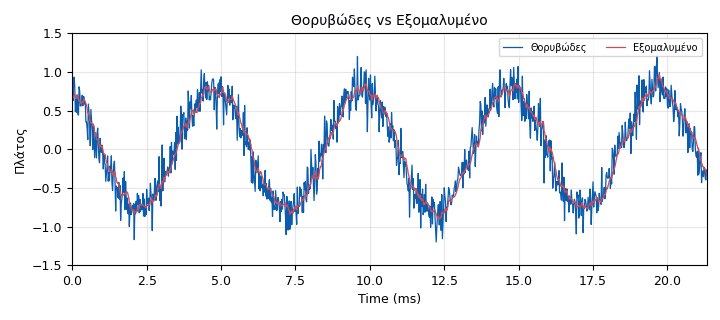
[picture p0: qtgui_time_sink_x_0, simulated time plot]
options:
  parameters:
    author: K510 Digital Communications Lab
    description: 'A noisy sine wave cleaned up by a hand-written Embedded Python Block: how to write your own GNU Radio block (lab0-intro-sdr).'
    generate_options: qt_gui
    id: custom_smoother
    output_language: python
    title: Custom Block Demo (Moving-Average Smoother)
  states: {}

blocks:
- name: noise_amp
  id: variable_qtgui_range
  parameters:
    comment: Πλάτος του προστιθέμενου λευκού θορύβου
    gui_hint: 1,0,1,1
    label: Πλάτος θορύβου
    start: '0.0'
    step: '0.01'
    stop: '0.5'
    value: '0.15'
  states: {}
- name: samp_rate
  id: variable
  parameters:
    comment: Sample rate
    value: '48000'
  states: {}
- name: tone_freq
  id: variable_qtgui_range
  parameters:
    comment: Συχνότητα του καθαρού ημιτόνου
    gui_hint: 0,0,1,1
    label: Συχνότητα τόνου (Hz)
    rangeType: int
    start: '50'
    step: '10'
    stop: '2000'
    value: '200'
  states: {}
- name: win_len
  id: variable_qtgui_range
  parameters:
    comment: Μήκος παραθύρου του custom κινητού μέσου όρου
    gui_hint: 0,2,1,1
    label: Παράθυρο εξομάλυνσης (δείγματα)
    rangeType: int
    start: '1'
    step: '1'
    stop: '50'
    value: '9'
  states: {}
- name: analog_noise_source_x_0
  id: analog_noise_source_x
  parameters:
    amp: noise_amp
    comment: Λευκός θόρυβος Gauss που προστίθεται στο ημίτονο
    noise_type: analog.GR_GAUSSIAN
    seed: '0'
    type: float
  states: {}
- name: analog_sig_source_x_0
  id: analog_sig_source_x
  parameters:
    amp: '0.8'
    comment: Καθαρό ημίτονο αναφοράς
    freq: tone_freq
    offset: '0'
    phase: '0'
    samp_rate: samp_rate
    type: float
    waveform: analog.GR_COS_WAVE
  states: {}
- name: blocks_add_xx_0
  id: blocks_add_xx
  parameters:
    comment: θορυβοποιημένο = καθαρό + θόρυβος
    type: float
  states: {}
- name: blocks_throttle_0
  id: blocks_throttle
  parameters:
    comment: Ρυθμίζει τον χρόνο εκτέλεσης στο samp_rate
    samples_per_second: samp_rate
    type: float
  states: {}
- name: epy_block_0
  id: epy_block
  parameters:
    _source_code: |
      import numpy as np
      from gnuradio import gr


      class blk(gr.sync_block):
          """
          Παράδειγμα custom block, γραμμένο εξ ολοκλήρου σε Python: ένας
          εξομαλυντής κινητού μέσου όρου (moving-average smoother).

          Παράμετρος:
              window : μήκος παραθύρου εξομάλυνσης σε δείγματα (>= 1).

          Διατηρεί τα τελευταία (window-1) δείγματα της προηγούμενης κλήσης του
          work() ως εσωτερική κατάσταση (self.history), ώστε η εξομάλυνση να
          είναι συνεχής στα όρια ανάμεσα σε διαδοχικά buffers -- χωρίς αυτό θα
          εμφανίζονταν παραμορφώσεις στην αρχή κάθε κλήσης.
          """

          def __init__(self, window=5):
              gr.sync_block.__init__(
                  self,
                  name='Εξομαλυντής (κινητός μέσος)',
                  in_sig=[np.float32],
                  out_sig=[np.float32],
              )
              # Απλό attribute -> γίνεται callback, ώστε το παράθυρο window
              # να αλλάζει ζωντανά από το QT GUI Range widget.
              self.window = window
              self.history = np.zeros(0, dtype=np.float32)

          def work(self, input_items, output_items):
              x = input_items[0]
              w = max(1, int(self.window))
              if len(self.history) != w - 1:
                  # Άλλαξε το παράθυρο: επαναρχικοποιούμε το ιστορικό (με μηδενικά).
                  self.history = np.zeros(w - 1, dtype=np.float32)
              buf = np.concatenate([self.history, x])
              # Κινητός μέσος όρος μέσω κυλιόμενου αθροίσματος (O(N), όχι O(N*w)).
              cumsum = np.cumsum(np.insert(buf, 0, 0.0))
              y = (cumsum[w:] - cumsum[:-w]) / w
              self.history = buf[-(w - 1):] if w > 1 else np.zeros(0, dtype=np.float32)
              output_items[0][:] = y.astype(np.float32)
              return len(output_items[0])
    window: win_len
  states: {}
- name: qtgui_time_sink_x_0
  id: qtgui_time_sink_x
  parameters:
    comment: 'Πάνω: είσοδος με θόρυβο. Κάτω: έξοδος του custom block'
    grid: 'True'
    label1: Θορυβώδες
    label2: Εξομαλυμένο
    name: '"Θορυβώδες vs Εξομαλυμένο"'
    nconnections: '2'
    size: '1024'
    srate: samp_rate
    type: float
    ylabel: Πλάτος
    ymax: '1.5'
    ymin: '-1.5'
  states: {}

connections:
- [analog_noise_source_x_0, '0', blocks_add_xx_0, '1']
- [analog_sig_source_x_0, '0', blocks_add_xx_0, '0']
- [blocks_add_xx_0, '0', blocks_throttle_0, '0']
- [blocks_throttle_0, '0', epy_block_0, '0']
- [blocks_throttle_0, '0', qtgui_time_sink_x_0, '0']
- [epy_block_0, '0', qtgui_time_sink_x_0, '1']

metadata:
  file_format: 1
  grc_version: 3.10.12.0
